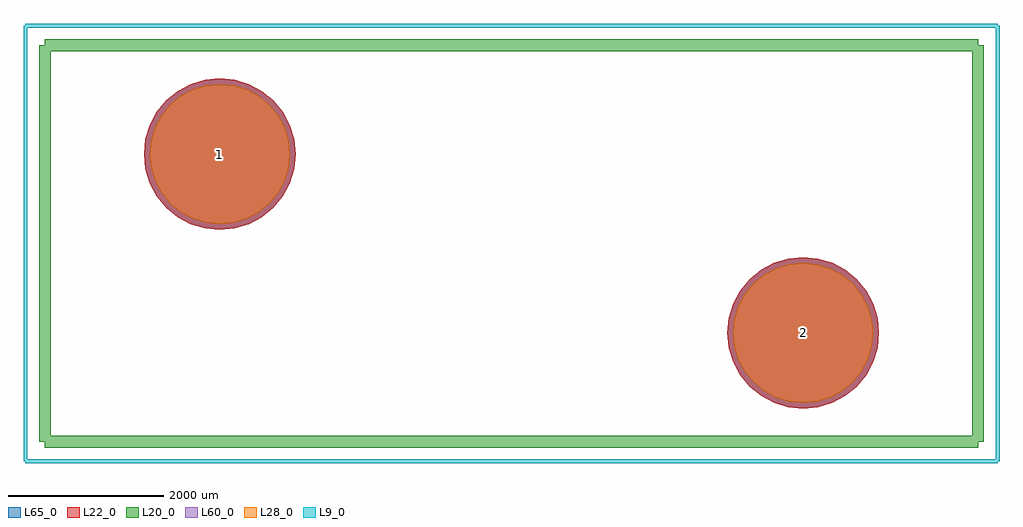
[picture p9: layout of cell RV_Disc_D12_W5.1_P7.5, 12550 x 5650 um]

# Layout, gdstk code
import gdstk
lib = gdstk.Library(unit=1e-6, precision=1e-09)
def P(c, l, *ps):  # polygons
    for p in ps: c.add(gdstk.Polygon(p, *l))
L9_0 = (9, 0)
L20_0 = (20, 0)
L22_0 = (22, 0)
L28_0 = (28, 0)
L60_0 = (60, 0)
L65_0 = (65, 0)

rv_disc_d12_w5_1_p7_5 = lib.new_cell('RV_Disc_D12_W5.1_P7.5')
P(rv_disc_d12_w5_1_p7_5, L22_0, [(8475,-2300),(8456.266,-2109.787),(8400.783,-1926.884),(8310.683,-1758.319),(8189.429,-1610.571),(8041.681,-1489.317),(7873.116,-1399.217),(7690.213,-1343.734),(7500,-1325),(7309.787,-1343.734),(7126.884,-1399.217),(6958.319,-1489.317),(6810.571,-1610.571),(6689.317,-1758.319),(6599.217,-1926.884),(6543.734,-2109.787),(6525,-2300),(6543.734,-2490.213),(6599.217,-2673.116),(6689.317,-2841.681),(6810.571,-2989.429),(6958.319,-3110.683),(7126.884,-3200.783),(7309.787,-3256.266),(7500,-3275),(7690.213,-3256.266),(7873.116,-3200.783),(8041.681,-3110.683),(8189.429,-2989.429),(8310.683,-2841.681),(8400.783,-2673.116),(8456.266,-2490.213)],
  [(975,0),(956.266,190.213),(900.783,373.116),(810.683,541.681),(689.429,689.429),(541.681,810.683),(373.116,900.783),(190.213,956.266),(0,975),(-190.213,956.266),(-373.116,900.783),(-541.681,810.683),(-689.429,689.429),(-810.683,541.681),(-900.783,373.116),(-956.266,190.213),(-975,0),(-956.266,-190.213),(-900.783,-373.116),(-810.683,-541.681),(-689.429,-689.429),(-541.681,-810.683),(-373.116,-900.783),(-190.213,-956.266),(0,-975),(190.213,-956.266),(373.116,-900.783),(541.681,-810.683),(689.429,-689.429),(810.683,-541.681),(900.783,-373.116),(956.266,-190.213)])
P(rv_disc_d12_w5_1_p7_5, L28_0, [(8400,-2300),(8382.707,-2124.419),(8331.492,-1955.585),(8248.323,-1799.987),(8136.396,-1663.604),(8000.013,-1551.677),(7844.415,-1468.508),(7675.581,-1417.293),(7500,-1400),(7324.419,-1417.293),(7155.585,-1468.508),(6999.987,-1551.677),(6863.604,-1663.604),(6751.677,-1799.987),(6668.508,-1955.585),(6617.293,-2124.419),(6600,-2300),(6617.293,-2475.581),(6668.508,-2644.415),(6751.677,-2800.013),(6863.604,-2936.396),(6999.987,-3048.323),(7155.585,-3131.492),(7324.419,-3182.707),(7500,-3200),(7675.581,-3182.707),(7844.415,-3131.492),(8000.013,-3048.323),(8136.396,-2936.396),(8248.323,-2800.013),(8331.492,-2644.415),(8382.707,-2475.581)],
  [(900,0),(882.707,175.581),(831.492,344.415),(748.323,500.013),(636.396,636.396),(500.013,748.323),(344.415,831.492),(175.581,882.707),(0,900),(-175.581,882.707),(-344.415,831.492),(-500.013,748.323),(-636.396,636.396),(-748.323,500.013),(-831.492,344.415),(-882.707,175.581),(-900,0),(-882.707,-175.581),(-831.492,-344.415),(-748.323,-500.013),(-636.396,-636.396),(-500.013,-748.323),(-344.415,-831.492),(-175.581,-882.707),(0,-900),(175.581,-882.707),(344.415,-831.492),(500.013,-748.323),(636.396,-636.396),(748.323,-500.013),(831.492,-344.415),(882.707,-175.581)])
P(rv_disc_d12_w5_1_p7_5, L60_0, [(8400,-2300),(8382.707,-2124.419),(8331.492,-1955.585),(8248.323,-1799.987),(8136.396,-1663.604),(8000.013,-1551.677),(7844.415,-1468.508),(7675.581,-1417.293),(7500,-1400),(7324.419,-1417.293),(7155.585,-1468.508),(6999.987,-1551.677),(6863.604,-1663.604),(6751.677,-1799.987),(6668.508,-1955.585),(6617.293,-2124.419),(6600,-2300),(6617.293,-2475.581),(6668.508,-2644.415),(6751.677,-2800.013),(6863.604,-2936.396),(6999.987,-3048.323),(7155.585,-3131.492),(7324.419,-3182.707),(7500,-3200),(7675.581,-3182.707),(7844.415,-3131.492),(8000.013,-3048.323),(8136.396,-2936.396),(8248.323,-2800.013),(8331.492,-2644.415),(8382.707,-2475.581)],
  [(900,0),(882.707,175.581),(831.492,344.415),(748.323,500.013),(636.396,636.396),(500.013,748.323),(344.415,831.492),(175.581,882.707),(0,900),(-175.581,882.707),(-344.415,831.492),(-500.013,748.323),(-636.396,636.396),(-748.323,500.013),(-831.492,344.415),(-882.707,175.581),(-900,0),(-882.707,-175.581),(-831.492,-344.415),(-748.323,-500.013),(-636.396,-636.396),(-500.013,-748.323),(-344.415,-831.492),(-175.581,-882.707),(0,-900),(175.581,-882.707),(344.415,-831.492),(500.013,-748.323),(636.396,-636.396),(748.323,-500.013),(831.492,-344.415),(882.707,-175.581)])
P(rv_disc_d12_w5_1_p7_5, L65_0, [(8475,-2300),(8456.266,-2109.787),(8400.783,-1926.884),(8310.683,-1758.319),(8189.429,-1610.571),(8041.681,-1489.317),(7873.116,-1399.217),(7690.213,-1343.734),(7500,-1325),(7309.787,-1343.734),(7126.884,-1399.217),(6958.319,-1489.317),(6810.571,-1610.571),(6689.317,-1758.319),(6599.217,-1926.884),(6543.734,-2109.787),(6525,-2300),(6543.734,-2490.213),(6599.217,-2673.116),(6689.317,-2841.681),(6810.571,-2989.429),(6958.319,-3110.683),(7126.884,-3200.783),(7309.787,-3256.266),(7500,-3275),(7690.213,-3256.266),(7873.116,-3200.783),(8041.681,-3110.683),(8189.429,-2989.429),(8310.683,-2841.681),(8400.783,-2673.116),(8456.266,-2490.213)],
  [(975,0),(956.266,190.213),(900.783,373.116),(810.683,541.681),(689.429,689.429),(541.681,810.683),(373.116,900.783),(190.213,956.266),(0,975),(-190.213,956.266),(-373.116,900.783),(-541.681,810.683),(-689.429,689.429),(-810.683,541.681),(-900.783,373.116),(-956.266,190.213),(-975,0),(-956.266,-190.213),(-900.783,-373.116),(-810.683,-541.681),(-689.429,-689.429),(-541.681,-810.683),(-373.116,-900.783),(-190.213,-956.266),(0,-975),(190.213,-956.266),(373.116,-900.783),(541.681,-810.683),(689.429,-689.429),(810.683,-541.681),(900.783,-373.116),(956.266,-190.213)])
rv_disc_d12_w5_1_p7_5.add(gdstk.FlexPath([(-2250,1400),(-2250,-3700)], 149.998, ends="flush", simple_path=True, layer=20, datatype=0))  # L20_0
rv_disc_d12_w5_1_p7_5.add(gdstk.FlexPath([(9750,1400),(9750,-3700)], 149.998, ends="flush", simple_path=True, layer=20, datatype=0))  # L20_0
rv_disc_d12_w5_1_p7_5.add(gdstk.FlexPath([(-2250,1400),(9750,1400)], 149.998, ends="flush", simple_path=True, layer=20, datatype=0))  # L20_0
rv_disc_d12_w5_1_p7_5.add(gdstk.FlexPath([(-2250,-3700),(9750,-3700)], 149.998, ends="flush", simple_path=True, layer=20, datatype=0))  # L20_0
rv_disc_d12_w5_1_p7_5.add(gdstk.FlexPath([(-2500,1650),(-2500,-3950)], 50, ends="flush", simple_path=True, layer=9, datatype=0))  # L9_0
rv_disc_d12_w5_1_p7_5.add(gdstk.FlexPath([(10000,1650),(10000,-3950)], 50, ends="flush", simple_path=True, layer=9, datatype=0))  # L9_0
rv_disc_d12_w5_1_p7_5.add(gdstk.FlexPath([(-2500,1650),(10000,1650)], 50, ends="flush", simple_path=True, layer=9, datatype=0))  # L9_0
rv_disc_d12_w5_1_p7_5.add(gdstk.FlexPath([(-2500,-3950),(10000,-3950)], 50, ends="flush", simple_path=True, layer=9, datatype=0))  # L9_0
rv_disc_d12_w5_1_p7_5.add(gdstk.Label('2', (7500,-2300), layer=28, texttype=0))
rv_disc_d12_w5_1_p7_5.add(gdstk.Label('1', (0,0), layer=28, texttype=0))
rv_disc_d12_w5_1_p7_5.add(gdstk.Label('type', (3750,2400), layer=9, texttype=0))
rv_disc_d12_w5_1_p7_5.add(gdstk.Label('devicename', (3750,-4700), layer=9, texttype=0))

lib.write_gds('RV_Disc_D12_W5.1_P7.5.gds')
